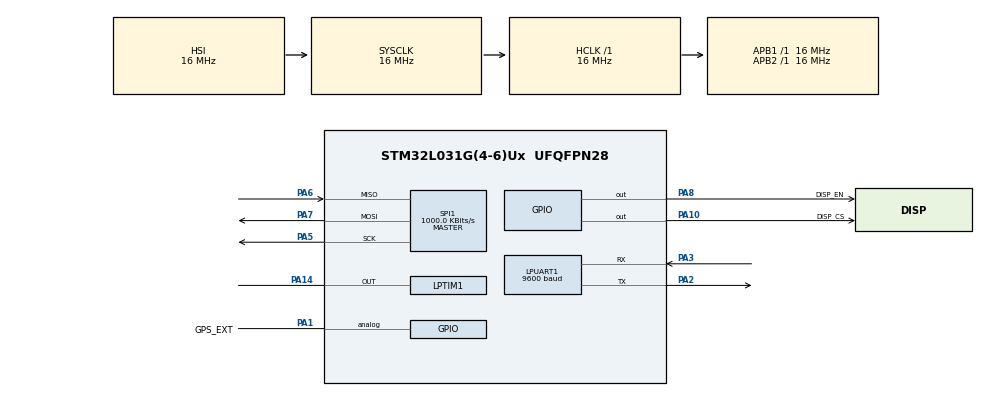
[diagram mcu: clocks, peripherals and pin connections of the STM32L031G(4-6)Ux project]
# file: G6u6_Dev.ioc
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ADC.ClockPrescaler=ADC_CLOCK_ASYNC_DIV16
ADC.LowPowerAutoPowerOff=ENABLE
ADC.SamplingTime=ADC_SAMPLETIME_19CYCLES_5
LPTIM1.ClockPrescaler=LPTIM_PRESCALER_DIV32
LPUART1.BaudRate=9600
LPUART1.WordLength=UART_WORDLENGTH_8B
Mcu.Family=STM32L0
Mcu.Name=STM32L031G(4-6)Ux
Mcu.Package=UFQFPN28
NVIC.RTC_IRQn=true\:0\:0\:false\:false\:true\:true\:true\:true
PA1.GPIO_Label=GPS_EXT
PA1.Signal=GPIO_Analog
PA10.GPIO_Label=DISP_CS
PA10.Signal=GPIO_Output
PA14.Mode=WaveformGeneration
PA14.Signal=LPTIM1_OUT
PA2.Mode=Asynchronous
PA2.Signal=LPUART1_TX
PA3.Mode=Asynchronous
PA3.Signal=LPUART1_RX
PA5.Mode=Full_Duplex_Master
PA5.Signal=SPI1_SCK
PA6.Mode=Full_Duplex_Master
PA6.Signal=SPI1_MISO
PA7.Mode=Full_Duplex_Master
PA7.Signal=SPI1_MOSI
PA8.GPIO_Label=DISP_EN
PA8.Signal=GPIO_Output
PC14-OSC32_IN.Mode=LSE-External-Oscillator
PC14-OSC32_IN.Signal=RCC_OSC32_IN
PC15-OSC32_OUT.Mode=LSE-External-Oscillator
PC15-OSC32_OUT.Signal=RCC_OSC32_OUT
ProjectManager.HeapSize=0x200
ProjectManager.StackSize=0x400
ProjectManager.TargetToolchain=STM32CubeIDE
RCC.AHBFreq_Value=16000000
RCC.APB1Freq_Value=16000000
RCC.APB1TimFreq_Value=16000000
RCC.APB2Freq_Value=16000000
RCC.APB2TimFreq_Value=16000000
RCC.HCLKFreq_Value=16000000
RCC.HSE_VALUE=8000000
RCC.HSI16_VALUE=16000000
RCC.HSI_VALUE=16000000
RCC.LSE_Drive_Capability=RCC_LSEDRIVE_MEDIUMHIGH
RCC.LptimClockSelection=RCC_LPTIM1CLKSOURCE_LSE
RCC.Lpuart1ClockSelection=RCC_LPUART1CLKSOURCE_LSE
RCC.MSI_VALUE=2097000
RCC.PWR_Regulator_Voltage_Scale=PWR_REGULATOR_VOLTAGE_SCALE2
RCC.RTCClockSelection=RCC_RTCCLKSOURCE_LSE
RCC.SYSCLKFreq_VALUE=16000000
RCC.SYSCLKSource=RCC_SYSCLKSOURCE_HSI
RCC.VCOOutputFreq_Value=48000000
RTC.WakeUpClock-WakeUp=RTC_WAKEUPCLOCK_RTCCLK_DIV16
RTC.WakeUpCounter-WakeUp=2047
SPI1.BaudRatePrescaler=SPI_BAUDRATEPRESCALER_16
SPI1.CLKPhase=SPI_PHASE_1EDGE
SPI1.CLKPolarity=SPI_POLARITY_LOW
SPI1.CalculateBaudRate=1000.0 KBits/s
SPI1.Direction=SPI_DIRECTION_2LINES
SPI1.FirstBit=SPI_FIRSTBIT_LSB
SPI1.Mode=SPI_MODE_MASTER
SPI1.VirtualType=VM_MASTER
VP_ADC_Vref_Input.Mode=IN-Vrefint
VP_LPTIM1_VS_LPTIM_counterModeInternalClock.Mode=Counts__internal_clock_event_00
VP_RTC_VS_RTC_Activate.Mode=RTC_Enabled
VP_RTC_VS_RTC_WakeUp_intern.Mode=WakeUp
board=custom

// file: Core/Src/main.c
/* USER CODE BEGIN Header */
/**
 ******************************************************************************
 * @file           : main.c
 * @brief          : Main program body
 ******************************************************************************
 * @attention
 *
 * Copyright (c) 2022 STMicroelectronics.
 * All rights reserved.
 *
 * This software is licensed under terms that can be found in the LICENSE file
 * in the root directory of this software component.
 * If no LICENSE file comes with this software, it is provided AS-IS.
 *
 ******************************************************************************
 */
/* USER CODE END Header */
#include "main.h"

/* USER CODE BEGIN PD */
#define VREFINT_CAL_ADDR 			 ((uint16_t*)((uint32_t)0x1ff80078))
#define LPTIMValue					 (uint32_t)	(1024)				//LPIM 1HZ 32768 DIV32 = 1Hz
#define LPTIMPeriodValue             (uint32_t) (LPTIMValue - 1)
#define LPTIMPulseValue              (uint32_t) ((LPTIMValue / 2) - 1) //50% duty
/* USER CODE END PD */

 ADC_HandleTypeDef hadc;

LPTIM_HandleTypeDef hlptim1;

UART_HandleTypeDef hlpuart1;

RTC_HandleTypeDef hrtc;

SPI_HandleTypeDef hspi1;

void SystemClock_Config(void);
static void MX_GPIO_Init(void);
static void MX_LPTIM1_Init(void);
static void MX_RTC_Init(void);
static void MX_SPI1_Init(void);
static void MX_LPUART1_UART_Init(void);
static void MX_ADC_Init(void);
/* USER CODE BEGIN PFP */

static void startADC();
static void drawDisplay();
static void gotoSleep();

/* USER CODE END PFP */

/* USER CODE BEGIN 0 */

uint8_t LCDDraw = 0x01;

uint8_t blackline[] = { 0x00, 0x00, 0x00, 0x00, 0x00, 0x00, 0x00, 0x00, 0x00,
		0x00, 0x00, 0x00, 0x00, 0x00, 0x00, 0x00, 0x00 };

uint8_t whiteline[] = { 0xff, 0xff, 0xff, 0xff, 0xff, 0xff, 0xff, 0xff, 0xff,
		0xff, 0xff, 0xff, 0xff, 0xff, 0xff, 0xff, 0x00 };

//Software Backup mode
static const uint8_t UBX_CFG_PWR_BKP[] = { 0xB5, 0x62, 0x06, 0x57, 0x08, 0x00,
		0x01, 0x00, 0x00, 0x00, 0x50, 0x4B, 0x43, 0x42, 0x86, 0x46 };

uint32_t capVCC = 3000;

/* USER CODE END 0 */

int main(void)
{

  /* MCU Configuration--------------------------------------------------------*/

  /* Reset of all peripherals, Initializes the Flash interface and the Systick. */
  HAL_Init();

  /* Configure the system clock */
  SystemClock_Config();

  /* Initialize all configured peripherals */
  MX_GPIO_Init();
  MX_LPTIM1_Init();
  MX_RTC_Init();
  MX_SPI1_Init();
  MX_LPUART1_UART_Init();
  MX_ADC_Init();
  /* USER CODE BEGIN 2 */
	HAL_UART_Transmit(&hlpuart1, (uint8_t*) &UBX_CFG_PWR_BKP,
			sizeof(UBX_CFG_PWR_BKP),
			HAL_MAX_DELAY);
	HAL_LPTIM_PWM_Start(&hlptim1, LPTIMPeriodValue, LPTIMPulseValue);
	HAL_GPIO_WritePin(DISP_EN_GPIO_Port, DISP_EN_Pin, GPIO_PIN_SET); //enable display
	HAL_GPIO_WritePin(GPS_EXT_GPIO_Port, GPS_EXT_Pin, GPIO_PIN_RESET); //disable GPS

  /* USER CODE END 2 */

  /* Infinite loop */
  /* USER CODE BEGIN WHILE */
	while (1) {
		startADC();
		drawDisplay();
		gotoSleep();
    /* USER CODE END WHILE */

	}
}

void SystemClock_Config(void)
{
  RCC_OscInitTypeDef RCC_OscInitStruct = {0};
  RCC_ClkInitTypeDef RCC_ClkInitStruct = {0};
  RCC_PeriphCLKInitTypeDef PeriphClkInit = {0};

  /** Configure the main internal regulator output voltage
  */
  __HAL_PWR_VOLTAGESCALING_CONFIG(PWR_REGULATOR_VOLTAGE_SCALE2);

  /** Configure LSE Drive Capability
  */
  HAL_PWR_EnableBkUpAccess();
  __HAL_RCC_LSEDRIVE_CONFIG(RCC_LSEDRIVE_MEDIUMHIGH);

  /** Initializes the RCC Oscillators according to the specified parameters
  * in the RCC_OscInitTypeDef structure.
  */
  RCC_OscInitStruct.OscillatorType = RCC_OSCILLATORTYPE_HSI|RCC_OSCILLATORTYPE_LSE;
  RCC_OscInitStruct.LSEState = RCC_LSE_ON;
  RCC_OscInitStruct.HSIState = RCC_HSI_ON;
  RCC_OscInitStruct.HSICalibrationValue = RCC_HSICALIBRATION_DEFAULT;
  RCC_OscInitStruct.PLL.PLLState = RCC_PLL_NONE;
  if (HAL_RCC_OscConfig(&RCC_OscInitStruct) != HAL_OK)
  {
    Error_Handler();
  }

  /** Initializes the CPU, AHB and APB buses clocks
  */
  RCC_ClkInitStruct.ClockType = RCC_CLOCKTYPE_HCLK|RCC_CLOCKTYPE_SYSCLK
                              |RCC_CLOCKTYPE_PCLK1|RCC_CLOCKTYPE_PCLK2;
  RCC_ClkInitStruct.SYSCLKSource = RCC_SYSCLKSOURCE_HSI;
  RCC_ClkInitStruct.AHBCLKDivider = RCC_SYSCLK_DIV1;
  RCC_ClkInitStruct.APB1CLKDivider = RCC_HCLK_DIV1;
  RCC_ClkInitStruct.APB2CLKDivider = RCC_HCLK_DIV1;

  if (HAL_RCC_ClockConfig(&RCC_ClkInitStruct, FLASH_LATENCY_1) != HAL_OK)
  {
    Error_Handler();
  }
  PeriphClkInit.PeriphClockSelection = RCC_PERIPHCLK_LPUART1|RCC_PERIPHCLK_RTC
                              |RCC_PERIPHCLK_LPTIM1;
  PeriphClkInit.Lpuart1ClockSelection = RCC_LPUART1CLKSOURCE_LSE;
  PeriphClkInit.RTCClockSelection = RCC_RTCCLKSOURCE_LSE;
  PeriphClkInit.LptimClockSelection = RCC_LPTIM1CLKSOURCE_LSE;

  if (HAL_RCCEx_PeriphCLKConfig(&PeriphClkInit) != HAL_OK)
  {
    Error_Handler();
  }
}

static void MX_ADC_Init(void)
{

  ADC_ChannelConfTypeDef sConfig = {0};

  /** Configure the global features of the ADC (Clock, Resolution, Data Alignment and number of conversion)
  */
  hadc.Instance = ADC1;
  hadc.Init.OversamplingMode = DISABLE;
  hadc.Init.ClockPrescaler = ADC_CLOCK_ASYNC_DIV16;
  hadc.Init.Resolution = ADC_RESOLUTION_12B;
  hadc.Init.SamplingTime = ADC_SAMPLETIME_19CYCLES_5;
  hadc.Init.ScanConvMode = ADC_SCAN_DIRECTION_FORWARD;
  hadc.Init.DataAlign = ADC_DATAALIGN_RIGHT;
  hadc.Init.ContinuousConvMode = DISABLE;
  hadc.Init.DiscontinuousConvMode = DISABLE;
  hadc.Init.ExternalTrigConvEdge = ADC_EXTERNALTRIGCONVEDGE_NONE;
  hadc.Init.ExternalTrigConv = ADC_SOFTWARE_START;
  hadc.Init.DMAContinuousRequests = DISABLE;
  hadc.Init.EOCSelection = ADC_EOC_SINGLE_CONV;
  hadc.Init.Overrun = ADC_OVR_DATA_PRESERVED;
  hadc.Init.LowPowerAutoWait = DISABLE;
  hadc.Init.LowPowerFrequencyMode = ENABLE;
  hadc.Init.LowPowerAutoPowerOff = ENABLE;
  if (HAL_ADC_Init(&hadc) != HAL_OK)
  {
    Error_Handler();
  }

  /** Configure for the selected ADC regular channel to be converted.
  */
  sConfig.Channel = ADC_CHANNEL_VREFINT;
  sConfig.Rank = ADC_RANK_CHANNEL_NUMBER;
  if (HAL_ADC_ConfigChannel(&hadc, &sConfig) != HAL_OK)
  {
    Error_Handler();
  }

}

static void MX_LPTIM1_Init(void)
{

  hlptim1.Instance = LPTIM1;
  hlptim1.Init.Clock.Source = LPTIM_CLOCKSOURCE_APBCLOCK_LPOSC;
  hlptim1.Init.Clock.Prescaler = LPTIM_PRESCALER_DIV32;
  hlptim1.Init.Trigger.Source = LPTIM_TRIGSOURCE_SOFTWARE;
  hlptim1.Init.OutputPolarity = LPTIM_OUTPUTPOLARITY_HIGH;
  hlptim1.Init.UpdateMode = LPTIM_UPDATE_IMMEDIATE;
  hlptim1.Init.CounterSource = LPTIM_COUNTERSOURCE_INTERNAL;
  if (HAL_LPTIM_Init(&hlptim1) != HAL_OK)
  {
    Error_Handler();
  }

}

static void MX_LPUART1_UART_Init(void)
{

  hlpuart1.Instance = LPUART1;
  hlpuart1.Init.BaudRate = 9600;
  hlpuart1.Init.WordLength = UART_WORDLENGTH_8B;
  hlpuart1.Init.StopBits = UART_STOPBITS_1;
  hlpuart1.Init.Parity = UART_PARITY_NONE;
  hlpuart1.Init.Mode = UART_MODE_TX_RX;
  hlpuart1.Init.HwFlowCtl = UART_HWCONTROL_NONE;
  hlpuart1.Init.OneBitSampling = UART_ONE_BIT_SAMPLE_DISABLE;
  hlpuart1.AdvancedInit.AdvFeatureInit = UART_ADVFEATURE_NO_INIT;
  if (HAL_UART_Init(&hlpuart1) != HAL_OK)
  {
    Error_Handler();
  }

}

static void MX_RTC_Init(void)
{

  /** Initialize RTC Only
  */
  hrtc.Instance = RTC;
  hrtc.Init.HourFormat = RTC_HOURFORMAT_24;
  hrtc.Init.AsynchPrediv = 127;
  hrtc.Init.SynchPrediv = 255;
  hrtc.Init.OutPut = RTC_OUTPUT_DISABLE;
  hrtc.Init.OutPutRemap = RTC_OUTPUT_REMAP_NONE;
  hrtc.Init.OutPutPolarity = RTC_OUTPUT_POLARITY_HIGH;
  hrtc.Init.OutPutType = RTC_OUTPUT_TYPE_OPENDRAIN;
  if (HAL_RTC_Init(&hrtc) != HAL_OK)
  {
    Error_Handler();
  }

  /** Enable the WakeUp
  */
  if (HAL_RTCEx_SetWakeUpTimer_IT(&hrtc, 2047, RTC_WAKEUPCLOCK_RTCCLK_DIV16) != HAL_OK)
  {
    Error_Handler();
  }

}

static void MX_SPI1_Init(void)
{

  /* SPI1 parameter configuration*/
  hspi1.Instance = SPI1;
  hspi1.Init.Mode = SPI_MODE_MASTER;
  hspi1.Init.Direction = SPI_DIRECTION_2LINES;
  hspi1.Init.DataSize = SPI_DATASIZE_8BIT;
  hspi1.Init.CLKPolarity = SPI_POLARITY_LOW;
  hspi1.Init.CLKPhase = SPI_PHASE_1EDGE;
  hspi1.Init.NSS = SPI_NSS_SOFT;
  hspi1.Init.BaudRatePrescaler = SPI_BAUDRATEPRESCALER_16;
  hspi1.Init.FirstBit = SPI_FIRSTBIT_LSB;
  hspi1.Init.TIMode = SPI_TIMODE_DISABLE;
  hspi1.Init.CRCCalculation = SPI_CRCCALCULATION_DISABLE;
  hspi1.Init.CRCPolynomial = 7;
  if (HAL_SPI_Init(&hspi1) != HAL_OK)
  {
    Error_Handler();
  }

}

static void MX_GPIO_Init(void)
{
  GPIO_InitTypeDef GPIO_InitStruct = {0};

  /* GPIO Ports Clock Enable */
  __HAL_RCC_GPIOC_CLK_ENABLE();
  __HAL_RCC_GPIOA_CLK_ENABLE();

  /*Configure GPIO pin Output Level */
  HAL_GPIO_WritePin(GPIOA, DISP_EN_Pin|DISP_CS_Pin, GPIO_PIN_RESET);

  /*Configure GPIO pin : GPS_EXT_Pin */
  GPIO_InitStruct.Pin = GPS_EXT_Pin;
  GPIO_InitStruct.Mode = GPIO_MODE_ANALOG;
  GPIO_InitStruct.Pull = GPIO_NOPULL;
  HAL_GPIO_Init(GPS_EXT_GPIO_Port, &GPIO_InitStruct);

  /*Configure GPIO pins : DISP_EN_Pin DISP_CS_Pin */
  GPIO_InitStruct.Pin = DISP_EN_Pin|DISP_CS_Pin;
  GPIO_InitStruct.Mode = GPIO_MODE_OUTPUT_PP;
  GPIO_InitStruct.Pull = GPIO_NOPULL;
  GPIO_InitStruct.Speed = GPIO_SPEED_FREQ_LOW;
  HAL_GPIO_Init(GPIOA, &GPIO_InitStruct);

}

/* USER CODE BEGIN 4 */

void startADC() {
	HAL_ADCEx_EnableVREFINT();
	HAL_ADCEx_Calibration_Start(&hadc, ADC_SINGLE_ENDED);
	while (HAL_IS_BIT_CLR(PWR->CSR, PWR_CSR_VREFINTRDYF))
		; //wait for vref
	HAL_ADC_Start(&hadc);
	HAL_ADC_PollForConversion(&hadc, HAL_MAX_DELAY);
	capVCC = HAL_ADC_GetValue(&hadc);
	capVCC = (3000UL * (*VREFINT_CAL_ADDR)) / capVCC;
	HAL_ADCEx_DisableVREFINT();
}

void drawDisplay() {
	static const uint32_t mVperLine = 10;
	static const uint32_t graphBottom = 2300; //TOP 2300mV + ( 10 * 128) = 3580mV
	uint8_t midLine = (uint8_t) 128
			- (uint8_t) ((capVCC - graphBottom) / mVperLine);
	HAL_GPIO_WritePin(DISP_CS_GPIO_Port, DISP_CS_Pin, GPIO_PIN_SET);
	HAL_SPI_Transmit(&hspi1, (uint8_t*) &LCDDraw, sizeof(LCDDraw),
	HAL_MAX_DELAY);
	for (uint8_t i = 1; i <= 128; i++) {
		if (i < midLine) {
			HAL_SPI_Transmit(&hspi1, (uint8_t*) &i, sizeof(i), HAL_MAX_DELAY);
			HAL_SPI_Transmit(&hspi1, (uint8_t*) &whiteline, sizeof(whiteline),
			HAL_MAX_DELAY);
		} else {
			HAL_SPI_Transmit(&hspi1, (uint8_t*) &i, sizeof(i), HAL_MAX_DELAY);
			HAL_SPI_Transmit(&hspi1, (uint8_t*) &blackline, sizeof(blackline),
			HAL_MAX_DELAY);
		}
	}
	HAL_SPI_Transmit(&hspi1, (uint8_t) 0x00, 1, HAL_MAX_DELAY);
	HAL_GPIO_WritePin(DISP_CS_GPIO_Port, DISP_CS_Pin, GPIO_PIN_RESET);

}

void gotoSleep() {
	if (capVCC < 3300UL) {
		__HAL_RCC_PWR_CLK_ENABLE();
		HAL_PWREx_EnableUltraLowPower();
		HAL_PWREx_EnableFastWakeUp();

		//Restart timer
		HAL_RTCEx_DeactivateWakeUpTimer(&hrtc);
		uint32_t sleepTimer = 2048; //1s
		if (capVCC < 3000UL) {
			sleepTimer = sleepTimer * 5; //5s
		}
		HAL_RTCEx_SetWakeUpTimer_IT(&hrtc, 2047, RTC_WAKEUPCLOCK_RTCCLK_DIV16);

		HAL_SuspendTick();
		HAL_PWR_EnterSTOPMode(PWR_LOWPOWERREGULATOR_ON, PWR_STOPENTRY_WFI);
		HAL_ResumeTick();
		SystemClock_Config();
	}
}

void HAL_RTCEx_WakeUpTimerEventCallback(RTC_HandleTypeDef *hrtc) {
	/* Clear Wake Up Flag */
	__HAL_PWR_CLEAR_FLAG(PWR_FLAG_WU);
}

/* USER CODE END 4 */

void Error_Handler(void)
{
	__disable_irq();
	while (1) {
	}
}
